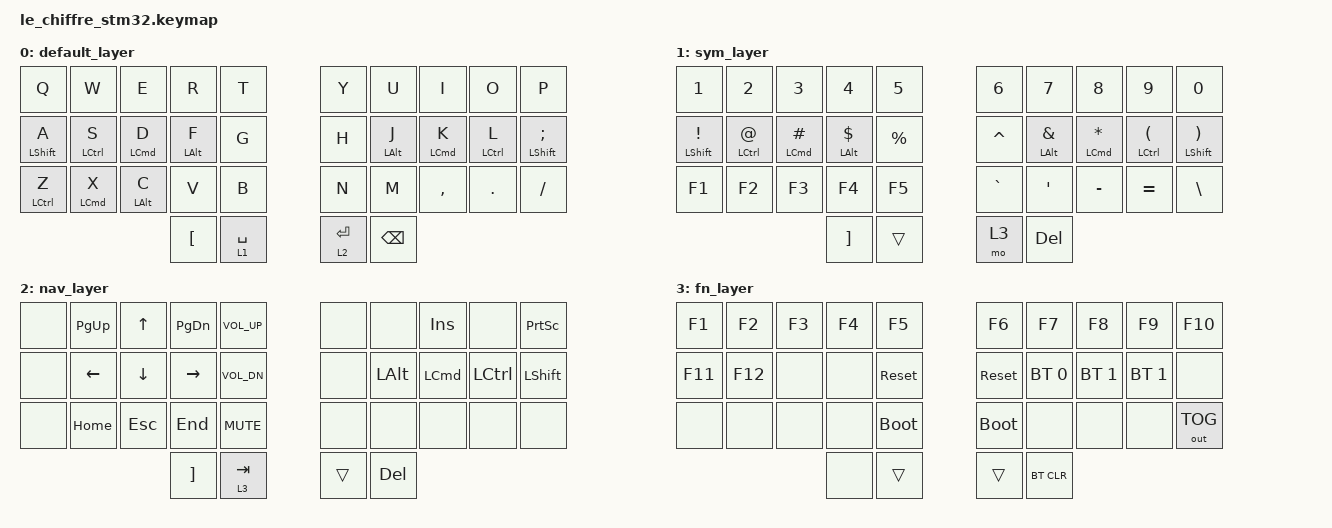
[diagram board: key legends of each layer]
/*
 * Copyright (c) 2024 Travis Mick
 *
 * SPDX-License-Identifier: MIT
 */

#include <behaviors.dtsi>
#include <dt-bindings/zmk/keys.h>
#include <dt-bindings/zmk/bt.h>
#include <dt-bindings/zmk/outputs.h>

&mt {
    flavor = "balanced";
    tapping-term-ms = <200>;
};

&lt {
    flavor = "balanced";
    tapping-term-ms = <200>;
};

/ {
    keymap {
        compatible = "zmk,keymap";

        default_layer {
            bindings = <
                      &kp Q          &kp W        &kp E         &kp R         &kp T                       &kp Y        &kp U         &kp I         &kp O          &kp P   
                      &mt LSHFT A    &mt LCTRL S  &mt LCMD D    &mt LALT F    &kp G                       &kp H        &mt LALT J    &mt LCMD K    &mt LCTRL L    &mt LSHFT SEMI
                      &mt LCTRL Z    &mt LCMD X   &mt LALT C    &kp V         &kp B                       &kp N        &kp M         &kp COMMA     &kp DOT        &kp FSLH
                                                                &kp LBKT      &lt 1 SPACE                 &lt 2 ENTER  &kp BSPC
            >;
        };

        sym_layer {
            bindings = <
                      &kp N1         &kp N2       &kp N3        &kp N4        &kp N5                      &kp N6       &kp N7        &kp N8        &kp N9         &kp N0   
                      &mt LSHFT EXCL &mt LCTRL AT &mt LCMD HASH &mt LALT DLLR &kp PRCNT                   &kp CARET    &mt LALT AMPS &mt LCMD STAR &mt LCTRL LPAR &mt LSHFT RPAR
                      &kp F1         &kp F2       &kp F3        &kp F4        &kp F5                      &kp GRAVE    &kp APOS      &kp MINUS     &kp EQUAL      &kp BSLH
                                                                &kp RBKT      &trans                      &mo 3        &kp DEL
            >;
        };

        nav_layer {
            bindings = <
                      &none          &kp PG_UP    &kp UP        &kp PG_DN     &kp C_VOL_UP                &none        &none         &kp INS       &none          &kp PSCRN
                      &none          &kp LEFT     &kp DOWN      &kp RIGHT     &kp C_VOL_DN                &none        &kp LALT      &kp LCMD      &kp LCTRL      &kp LSHFT
                      &none          &kp HOME     &kp ESC       &kp END       &kp C_MUTE                  &none        &none         &none         &none          &none
                                                                &kp RBKT      &lt 3 TAB                   &trans       &kp DEL
            >;
        };

        fn_layer {
            bindings = <
                      &kp F1         &kp F2       &kp F3        &kp F4        &kp F5                      &kp F6       &kp F7        &kp F8        &kp F9         &kp F10
                      &kp F11        &kp F12      &none         &none         &sys_reset                  &sys_reset   &bt BT_SEL 0  &bt BT_SEL 1  &bt BT_SEL 1   &none
                      &none          &none        &none         &none         &bootloader                 &bootloader  &none         &none         &none          &out OUT_TOG
                                                                &none         &trans                      &trans       &bt BT_CLR
            >;
        };

    };
};
